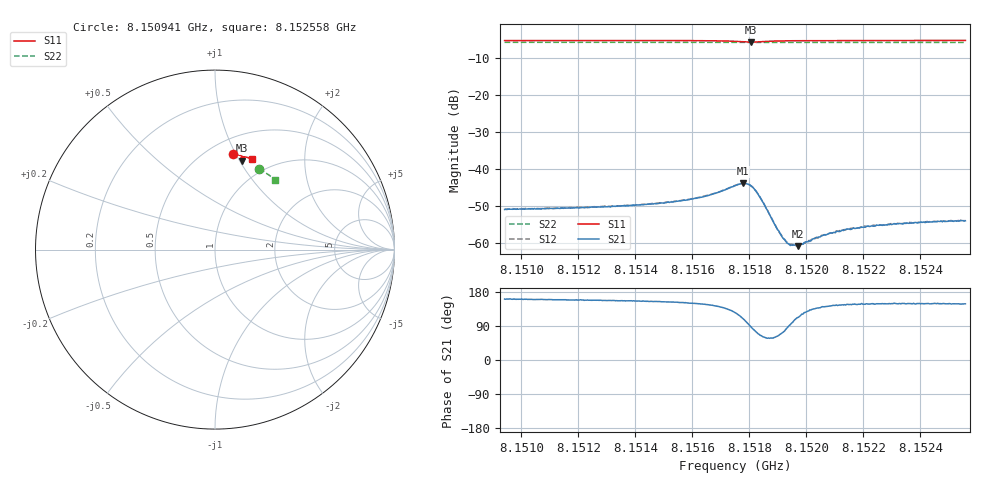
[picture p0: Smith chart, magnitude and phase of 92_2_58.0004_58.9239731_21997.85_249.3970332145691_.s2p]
#  HZ  S  RI  R  50.00
! Rohde & Schwarz Vector Network Analyzer
! Rohde-Schwarz,ZNB20-2Port,1311601062101988,3.16
! Created: UTC 3/21/2024, 12:54:21 AM
! freq[Hz]  re:S11  im:S11  re:S21  im:S21  re:S12  im:S12  re:S22  im:S22
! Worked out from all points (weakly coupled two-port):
!   401 points, 8.150941 GHz to 8.152558 GHz, reference 50 ohm
!   highest |S21| = -43.94 dB at 8.151778 GHz (marker M1); lowest = -60.9 dB at 8.151972 GHz (marker M2)
!   lowest |S11| = -5.7 dB at 8.151806 GHz (marker M3), VSWR 3.14, Z = 37.8 + j51.1 ohm
!   |S11| at or under -10 dB: nowhere
!   |S22| runs from -5.8 to -5.8 dB; largest |S21 - S12| = 0.00015
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8.1509413e9  0.0995 0.5335  -0.00267 0.000936  -0.00266 0.000979  0.2475 0.4508
8.1512121e9  0.119 0.5299  -0.00278 0.00112  -0.0028 0.00117  0.2625 0.4419
8.1514062e9  0.1332 0.5264  -0.00296 0.00136  -0.00294 0.00139  0.2732 0.4352
8.151483e9  0.1392 0.5248  -0.00308 0.00147  -0.0031 0.00156  0.2773 0.4323
8.1516204e9  0.151 0.5202  -0.00345 0.00213  -0.00347 0.00221  0.2846 0.4272
8.1516811e9  0.1571 0.5161  -0.00371 0.00283  -0.00371 0.00289  0.2879 0.425
8.1517498e9  0.1623 0.5051  -0.0034 0.00484  -0.00337 0.00493  0.2913 0.422
8.1517781e9  0.1589 0.4977  -0.00206 0.00601  -0.00201 0.00607  0.2925 0.4207
8.1517943e9  0.1538 0.4952  -0.000732 0.00618  -0.000653 0.00622  0.2931 0.4202
8.1518064e9  0.1491 0.4955  0.000319 0.00584  0.0004 0.00589  0.2935 0.4197
8.1518185e9  0.1454 0.4979  0.00113 0.00516  0.00123 0.00516  0.294 0.4195
8.1518347e9  0.1427 0.5027  0.00165 0.004  0.00173 0.00398  0.2947 0.4192
8.1518994e9  0.1491 0.5151  0.000675 0.00134  0.000682 0.00135  0.2985 0.4172
8.1519236e9  0.1527 0.5165  0.000261 0.00107  0.000273 0.00108  0.2997 0.4162
8.1519438e9  0.1553 0.517  -5.39e-05 0.000919  -2.86e-05 0.000948  0.3009 0.4155
8.1519721e9  0.1586 0.5173  -0.000347 0.000832  -0.00037 0.000848  0.3025 0.4143
8.1520207e9  0.1636 0.517  -0.000771 0.0008  -0.000773 0.000822  0.3051 0.4124
8.1520773e9  0.1689 0.5162  -0.00104 0.000814  -0.00105 0.000817  0.3078 0.4102
8.1521419e9  0.174 0.515  -0.00128 0.000835  -0.00126 0.000854  0.3113 0.4077
8.1521985e9  0.1785 0.5138  -0.00137 0.000883  -0.00137 0.000903  0.314 0.4054
8.1522915e9  0.1854 0.5118  -0.00152 0.000919  -0.00151 0.000901  0.3187 0.4016
8.1525583e9  0.2038 0.5053  -0.00169 0.00105  -0.00169 0.00106  0.3317 0.3903
